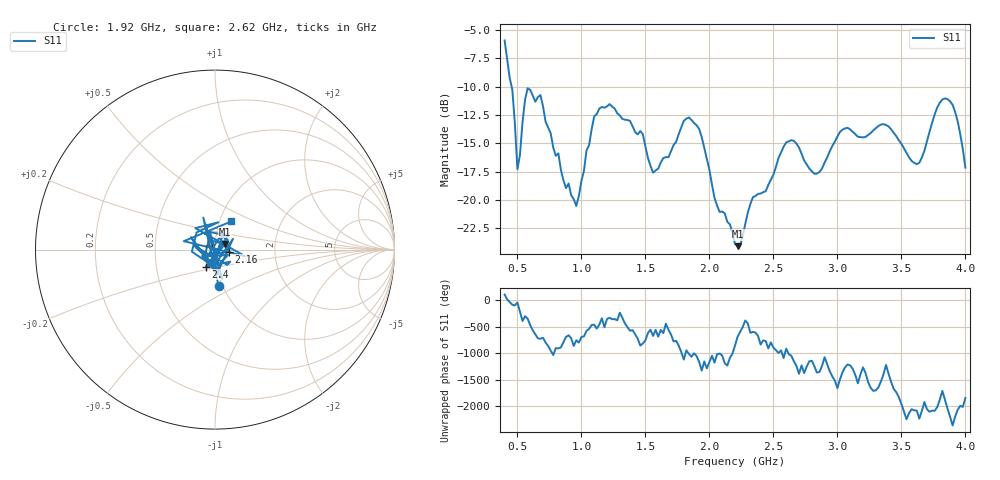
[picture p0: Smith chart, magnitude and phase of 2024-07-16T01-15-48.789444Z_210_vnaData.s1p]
!Created with skrf (http://scikit-rf.org).
# Hz S RI R 50.0
!freq ReS11 ImS11
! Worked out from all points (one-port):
!   181 points, 400 MHz to 4 GHz, reference 50 ohm
!   lowest |S11| = -24.1 dB at 2.22 GHz (marker M1), VSWR 1.13, Z = 55.6 + j3.48 ohm
!   |S11| at or under -10 dB: 454.9 MHz to end of sweep
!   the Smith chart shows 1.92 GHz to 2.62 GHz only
!   S11 on the Smith chart (normalised r, x): 1.92 GHz: 0.96, -0.41; 2.16 GHz: 1.17, -0.03; 2.4 GHz: 0.89, -0.17; 2.62 GHz: 1.14, +0.37
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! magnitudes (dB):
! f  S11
! 400 MHz  -5.9
! 460 MHz  -10.3
! 500 MHz  -17.3
! 580 MHz  -10.1
! 680 MHz  -10.7
! 860 MHz  -18.3
! 960 MHz  -20.5
! 1.1 GHz  -12.6
! 1.3 GHz  -12.5
! 1.48 GHz  -14.2
! 1.56 GHz  -17.6
! 1.76 GHz  -14.2
! 1.92 GHz  -13.7
! 2.04 GHz  -19.8
! 2.16 GHz  -22.1
! 2.2 GHz  -23.9
! 2.22 GHz  -24.1
! 2.4 GHz  -19.4
! 2.62 GHz  -14.8
! 2.66 GHz  -14.8
! 2.84 GHz  -17.7
! 3.1 GHz  -13.8
! 3.38 GHz  -13.4
! 3.56 GHz  -16.2
! 3.64 GHz  -16.7
! 3.84 GHz  -11.0
! 3.92 GHz  -12.2
! 4 GHz  -17.1
